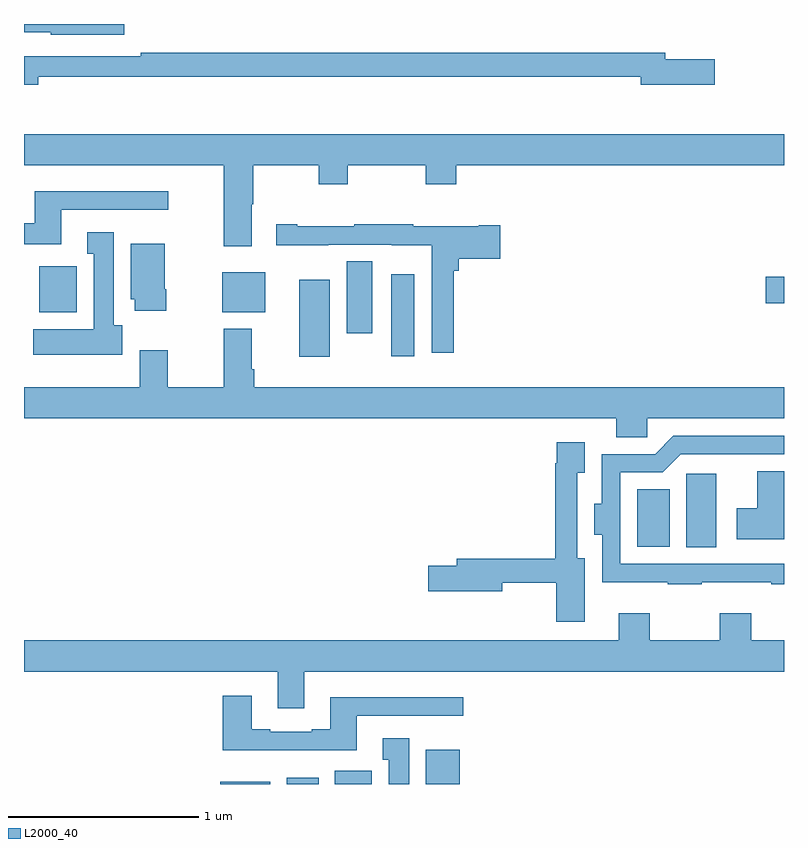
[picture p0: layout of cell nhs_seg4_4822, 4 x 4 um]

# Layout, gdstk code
import gdstk
lib = gdstk.Library(unit=1e-6, precision=1e-09)
def R(c, l, rs):  # rectangles x0, y0, x1, y1
    for r in rs: c.add(gdstk.rectangle(r[:2], r[2:], *l))
def P(c, l, *ps):  # polygons
    for p in ps: c.add(gdstk.Polygon(p, *l))
L2000_40 = (2000, 40)

nhs_seg4_4822 = lib.new_cell('nhs_seg4_4822')
R(nhs_seg4_4822, L2000_40, [(372.032,790.9,372.295,790.912), (372.383,790.9,372.55,790.933), (372.635,790.9,372.831,790.969), (373.115,790.9,373.294,791.08), (374.486,792.145,374.644,792.532), (374.228,792.149,374.398,792.451), (372.449,793.149,372.61,793.555), (372.932,793.152,373.054,793.582), (372.698,793.272,372.832,793.652), (371.081,793.382,371.278,793.624), (372.044,793.382,372.271,793.594), (374.904,793.429,375,793.571)])
P(nhs_seg4_4822, L2000_40, [(371.527,794.9),(371,794.9),(371,794.856),(371.142,794.856),(371.142,794.843),(371.527,794.843)],
  [(371.074,794.622),(374.246,794.622),(374.246,794.579),(374.635,794.579),(374.635,794.714),(374.374,794.714),(374.374,794.75),(371.614,794.75),(371.614,794.73),(371,794.73),(371,794.579),(371.074,794.579)],
  [(372.199,793.952),(372.207,793.952),(372.207,794.156),(372.55,794.156),(372.55,794.057),(372.705,794.057),(372.705,794.156),(373.114,794.156),(373.114,794.057),(373.274,794.057),(373.274,794.156),(375,794.156),(375,794.32),(371,794.32),(371,794.156),(372.052,794.156),(372.052,793.731),(372.199,793.731)],
  [(371.197,793.923),(371.758,793.923),(371.758,794.02),(371.057,794.02),(371.057,793.852),(371,793.852),(371,793.742),(371.197,793.742)],
  [(373.262,793.601),(373.289,793.601),(373.289,793.664),(373.507,793.664),(373.507,793.842),(373.394,793.842),(373.394,793.836),(373.049,793.836),(373.049,793.846),(372.739,793.846),(372.739,793.836),(372.439,793.836),(372.439,793.846),(372.327,793.846),(372.327,793.736),(372.602,793.736),(372.602,793.737),(372.936,793.737),(372.936,793.736),(373.146,793.736),(373.146,793.17),(373.262,793.17)],
  [(371.518,793.314),(371.473,793.314),(371.473,793.804),(371.333,793.804),(371.333,793.691),(371.366,793.691),(371.366,793.294),(371.049,793.294),(371.049,793.16),(371.518,793.16)],
  [(371.748,793.504),(371.74,793.504),(371.74,793.744),(371.561,793.744),(371.561,793.452),(371.582,793.452),(371.582,793.392),(371.748,793.392)],
  [(374.28,792.824),(375,792.824),(375,792.988),(372.212,792.988),(372.212,793.084),(372.199,793.084),(372.199,793.297),(372.052,793.297),(372.052,792.988),(371.757,792.988),(371.757,793.183),(371.609,793.183),(371.609,792.988),(371,792.988),(371,792.824),(374.117,792.824),(374.117,792.726),(374.28,792.726)],
  [(374.567,791.963),(374.933,791.963),(374.933,791.952),(375,791.952),(375,792.06),(374.139,792.06),(374.139,792.54),(374.361,792.54),(374.457,792.636),(375,792.636),(375,792.732),(374.418,792.732),(374.322,792.636),(374.042,792.636),(374.042,792.376),(374,792.376),(374,792.212),(374.043,792.212),(374.043,791.963),(374.389,791.963),(374.389,791.952),(374.567,791.952)],
  [(373.951,792.088),(373.911,792.088),(373.911,792.539),(373.951,792.539),(373.951,792.7),(373.803,792.7),(373.803,792.587),(373.795,792.587),(373.795,792.086),(373.277,792.086),(373.277,792.05),(373.128,792.05),(373.128,791.915),(373.516,791.915),(373.516,791.958),(373.802,791.958),(373.802,791.754),(373.951,791.754)],
  [(375,792.547),(374.858,792.547),(374.858,792.352),(374.751,792.352),(374.751,792.188),(375,792.188)],
  [(371,791.492),(372.335,791.492),(372.335,791.298),(372.475,791.298),(372.475,791.492),(375,791.492),(375,791.656),(374.827,791.656),(374.827,791.8),(374.663,791.8),(374.663,791.656),(374.293,791.656),(374.293,791.8),(374.129,791.8),(374.129,791.656),(371,791.656)],
  [(372.751,791.259),(373.312,791.259),(373.312,791.356),(372.611,791.356),(372.611,791.188),(372.515,791.188),(372.515,791.175),(372.295,791.175),(372.295,791.188),(372.199,791.188),(372.199,791.365),(372.047,791.365),(372.047,791.078),(372.751,791.078)],
  [(373.027,791.14),(372.887,791.14),(372.887,791.027),(372.92,791.027),(372.92,790.9),(373.027,790.9)])

lib.write_gds('nhs_seg4_4822.gds')
